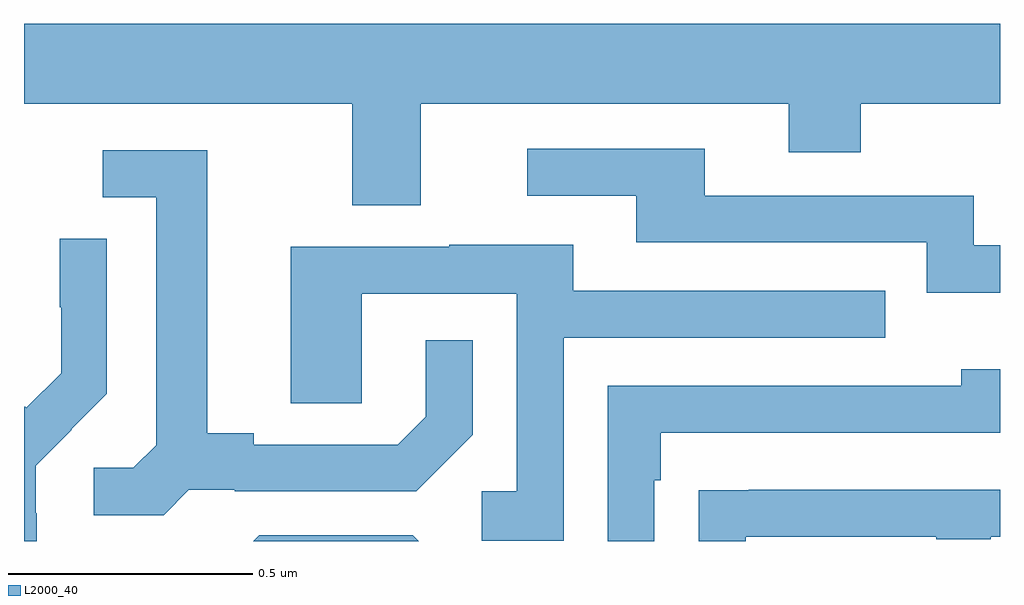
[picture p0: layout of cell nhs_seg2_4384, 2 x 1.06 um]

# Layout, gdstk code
import gdstk
lib = gdstk.Library(unit=1e-6, precision=1e-09)
def P(c, l, *ps):  # polygons
    for p in ps: c.add(gdstk.Polygon(p, *l))
L2000_40 = (2000, 40)

nhs_seg2_4384 = lib.new_cell('nhs_seg2_4384')
P(nhs_seg2_4384, L2000_40, [(166.813,587.696),(167.567,587.696),(167.567,587.597),(167.715,587.597),(167.715,587.696),(168,587.696),(168,587.86),(166,587.86),(166,587.696),(166.673,587.696),(166.673,587.488),(166.813,587.488)],
  [(168,587.406),(167.946,587.406),(167.946,587.508),(167.395,587.508),(167.395,587.604),(167.031,587.604),(167.031,587.508),(167.255,587.508),(167.255,587.412),(167.85,587.412),(167.85,587.309),(168,587.309)],
  [(166.338,586.905),(166.432,586.905),(166.432,586.902),(166.804,586.902),(166.92,587.018),(166.92,587.212),(166.823,587.212),(166.823,587.055),(166.766,586.998),(166.471,586.998),(166.471,587.021),(166.375,587.021),(166.375,587.601),(166.161,587.601),(166.161,587.505),(166.271,587.505),(166.271,586.997),(166.224,586.95),(166.143,586.95),(166.143,586.853),(166.286,586.853)],
  [(166.026,586.857),(166.024,586.857),(166.024,586.954),(166.098,587.028),(166.097,587.029),(166.17,587.102),(166.17,587.42),(166.073,587.42),(166.073,587.279),(166.076,587.279),(166.076,587.144),(166.005,587.073),(166.002,587.076),(166,587.074),(166,586.8),(166.026,586.8)],
  [(167.106,587.217),(167.765,587.217),(167.765,587.313),(167.125,587.313),(167.125,587.407),(166.871,587.407),(166.871,587.403),(166.547,587.403),(166.547,587.083),(166.692,587.083),(166.692,587.307),(167.01,587.307),(167.01,586.902),(166.938,586.902),(166.938,586.801),(167.106,586.801)],
  [(167.292,586.925),(167.305,586.925),(167.305,587.022),(168,587.022),(168,587.152),(167.921,587.152),(167.921,587.118),(167.196,587.118),(167.196,586.8),(167.292,586.8)],
  [(167.479,586.809),(167.869,586.809),(167.869,586.804),(167.981,586.804),(167.981,586.809),(168,586.809),(168,586.905),(167.485,586.905),(167.485,586.904),(167.383,586.904),(167.383,586.8),(167.479,586.8)],
  [(166.797,586.812),(166.482,586.812),(166.47,586.8),(166.809,586.8)])

lib.write_gds('nhs_seg2_4384.gds')
